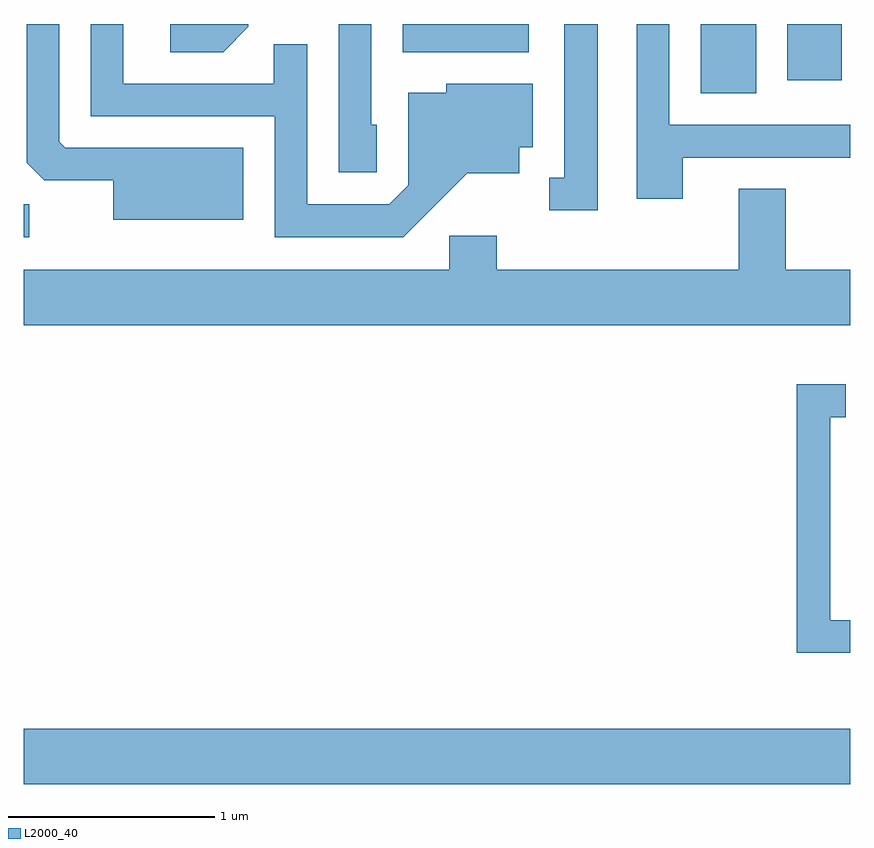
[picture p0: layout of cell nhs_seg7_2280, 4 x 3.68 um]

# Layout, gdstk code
import gdstk
lib = gdstk.Library(unit=1e-6, precision=1e-09)
def R(c, l, rs):  # rectangles x0, y0, x1, y1
    for r in rs: c.add(gdstk.rectangle(r[:2], r[2:], *l))
def P(c, l, *ps):  # polygons
    for p in ps: c.add(gdstk.Polygon(p, *l))
L2000_40 = (2000, 40)

nhs_seg7_2280 = lib.new_cell('nhs_seg7_2280')
R(nhs_seg7_2280, L2000_40, [(255.611,1676.576,259.611,1676.844), (255.611,1679.221,255.638,1679.379), (258.886,1679.916,259.154,1680.252), (259.306,1679.981,259.569,1680.252), (257.446,1680.116,258.054,1680.252)])
P(nhs_seg7_2280, L2000_40, [(256.699,1680.239),(256.699,1680.252),(256.321,1680.252),(256.321,1680.116),(256.577,1680.116)],
  [(258.389,1680.252),(258.226,1680.252),(258.226,1679.509),(258.153,1679.509),(258.153,1679.351),(258.389,1679.351)],
  [(257.319,1679.764),(257.294,1679.764),(257.294,1680.252),(257.136,1680.252),(257.136,1679.536),(257.319,1679.536)],
  [(258.799,1679.606),(259.611,1679.606),(259.611,1679.764),(258.734,1679.764),(258.734,1680.252),(258.576,1680.252),(258.576,1679.406),(258.799,1679.406)],
  [(257.757,1679.531),(258.009,1679.531),(258.009,1679.656),(258.074,1679.656),(258.074,1679.964),(257.656,1679.964),(257.656,1679.919),(257.471,1679.919),(257.471,1679.472),(257.379,1679.379),(256.984,1679.379),(256.984,1680.153),(256.821,1680.153),(256.821,1679.964),(256.094,1679.964),(256.094,1680.252),(255.936,1680.252),(255.936,1679.806),(256.826,1679.806),(256.826,1679.221),(257.447,1679.221)],
  [(256.674,1679.654),(255.812,1679.654),(255.784,1679.682),(255.784,1680.252),(255.626,1680.252),(255.626,1679.582),(255.712,1679.496),(256.046,1679.496),(256.046,1679.306),(256.674,1679.306)],
  [(259.611,1679.064),(259.299,1679.064),(259.299,1679.454),(259.071,1679.454),(259.071,1679.064),(257.899,1679.064),(257.899,1679.229),(257.671,1679.229),(257.671,1679.064),(255.611,1679.064),(255.611,1678.796),(259.611,1678.796)],
  [(259.611,1677.369),(259.514,1677.369),(259.514,1678.351),(259.587,1678.351),(259.587,1678.509),(259.351,1678.509),(259.351,1677.211),(259.611,1677.211)])

lib.write_gds('nhs_seg7_2280.gds')
